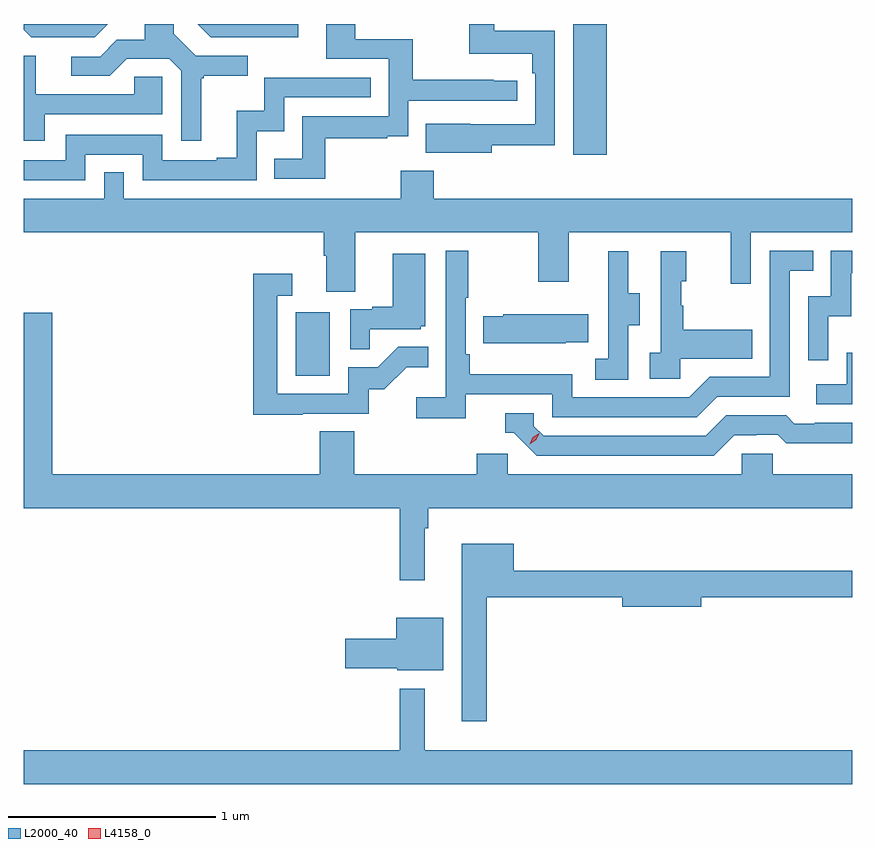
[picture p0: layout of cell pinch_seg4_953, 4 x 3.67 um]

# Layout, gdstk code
import gdstk
lib = gdstk.Library(unit=1e-6, precision=1e-09)
def R(c, l, rs):  # rectangles x0, y0, x1, y1
    for r in rs: c.add(gdstk.rectangle(r[:2], r[2:], *l))
def P(c, l, *ps):  # polygons
    for p in ps: c.add(gdstk.Polygon(p, *l))
L2000_40 = (2000, 40)
L4158_0 = (4158, 0)

pinch_seg4_953 = lib.new_cell('pinch_seg4_953')
R(pinch_seg4_953, L2000_40, [(863.066,773.484,863.23,773.791), (864.407,774.552,864.568,775.183)])
P(pinch_seg4_953, L2000_40, [(863.209,774.63),(863.507,774.63),(863.507,774.641),(863.61,774.641),(863.61,774.813),(864.136,774.813),(864.136,774.909),(864.023,774.909),(864.023,774.914),(863.63,774.914),(863.63,775.11),(863.353,775.11),(863.353,775.183),(863.213,775.183),(863.213,775.014),(863.514,775.014),(863.514,774.738),(863.098,774.738),(863.098,774.532),(862.963,774.532),(862.963,774.435),(863.209,774.435)],
  [(862.609,774.921),(862.621,774.921),(862.621,774.932),(862.834,774.932),(862.834,775.029),(862.584,775.029),(862.477,775.136),(862.477,775.183),(862.337,775.183),(862.337,775.106),(862.202,775.106),(862.122,775.026),(861.981,775.026),(861.981,774.933),(862.168,774.933),(862.249,775.014),(862.455,775.014),(862.512,774.957),(862.512,774.618),(862.609,774.618)],
  [(862.159,775.183),(861.753,775.183),(861.753,775.155),(861.789,775.119),(862.095,775.119)],
  [(863.077,775.183),(862.592,775.183),(862.656,775.119),(862.872,775.119),(862.872,775.118),(863.077,775.118)],
  [(864.013,774.598),(864.318,774.598),(864.318,775.15),(864.025,775.15),(864.025,775.183),(863.904,775.183),(863.904,775.04),(864.209,775.04),(864.209,774.944),(864.222,774.944),(864.222,774.699),(863.909,774.699),(863.909,774.7),(863.695,774.7),(863.695,774.56),(864.013,774.56)],
  [(861.853,774.747),(862.422,774.747),(862.422,774.927),(862.285,774.927),(862.285,774.843),(861.811,774.843),(861.811,775.029),(861.753,775.029),(861.753,774.618),(861.853,774.618)],
  [(862.05,774.552),(862.326,774.552),(862.326,774.429),(862.878,774.429),(862.878,774.665),(863.01,774.665),(863.01,774.828),(863.429,774.828),(863.429,774.924),(862.914,774.924),(862.914,774.763),(862.781,774.763),(862.781,774.538),(862.685,774.538),(862.685,774.525),(862.422,774.525),(862.422,774.648),(861.954,774.648),(861.954,774.525),(861.753,774.525),(861.753,774.429),(862.05,774.429)],
  [(863.353,774.176),(864.238,774.176),(864.238,773.937),(864.385,773.937),(864.385,774.176),(865.166,774.176),(865.166,773.928),(865.263,773.928),(865.263,774.176),(865.753,774.176),(865.753,774.34),(863.732,774.34),(863.732,774.475),(863.572,774.475),(863.572,774.34),(862.236,774.34),(862.236,774.467),(862.14,774.467),(862.14,774.34),(861.753,774.34),(861.753,774.176),(863.201,774.176),(863.201,774.064),(863.213,774.064),(863.213,773.89),(863.353,773.89)],
  [(863.888,773.394),(864.306,773.394),(864.306,773.283),(865.003,773.283),(865.102,773.382),(865.452,773.382),(865.452,773.991),(865.565,773.991),(865.565,774.087),(865.356,774.087),(865.356,773.478),(865.065,773.478),(864.966,773.379),(864.402,773.379),(864.402,773.491),(863.906,773.491),(863.906,773.587),(863.886,773.587),(863.886,773.86),(863.899,773.86),(863.899,774.088),(863.79,774.088),(863.79,773.38),(863.649,773.38),(863.649,773.278),(863.888,773.278)],
  [(865.638,773.771),(865.748,773.771),(865.748,773.979),(865.753,773.979),(865.753,774.087),(865.65,774.087),(865.65,773.868),(865.542,773.868),(865.542,773.559),(865.638,773.559)],
  [(864.924,773.567),(865.271,773.567),(865.271,773.707),(864.937,773.707),(864.937,773.822),(864.927,773.822),(864.927,773.94),(864.952,773.94),(864.952,774.085),(864.828,774.085),(864.828,773.594),(864.777,773.594),(864.777,773.469),(864.924,773.469)],
  [(864.672,773.728),(864.727,773.728),(864.727,773.883),(864.673,773.883),(864.673,774.085),(864.575,774.085),(864.575,773.871),(864.576,773.871),(864.576,773.567),(864.513,773.567),(864.513,773.464),(864.672,773.464)],
  [(863.423,773.709),(863.67,773.709),(863.67,773.724),(863.692,773.724),(863.692,774.073),(863.534,774.073),(863.534,773.818),(863.435,773.818),(863.435,773.805),(863.328,773.805),(863.328,773.611),(863.423,773.611)],
  [(863.099,773.301),(863.418,773.301),(863.418,773.418),(863.494,773.418),(863.601,773.525),(863.705,773.525),(863.705,773.624),(863.561,773.624),(863.463,773.526),(863.319,773.526),(863.319,773.397),(862.977,773.397),(862.977,773.871),(863.05,773.871),(863.05,773.977),(862.861,773.977),(862.861,773.296),(863.099,773.296)],
  [(863.689,772.748),(863.707,772.748),(863.707,772.844),(865.753,772.844),(865.753,773.008),(865.371,773.008),(865.371,773.106),(865.221,773.106),(865.221,773.008),(864.09,773.008),(864.09,773.106),(863.939,773.106),(863.939,773.008),(863.348,773.008),(863.348,773.216),(863.183,773.216),(863.183,773.008),(861.89,773.008),(861.89,773.788),(861.753,773.788),(861.753,772.844),(863.568,772.844),(863.568,772.497),(863.689,772.497)],
  [(864.371,773.645),(864.479,773.645),(864.479,773.782),(864.069,773.782),(864.069,773.772),(863.971,773.772),(863.971,773.642),(864.371,773.642)],
  [(865.753,773.596),(865.728,773.596),(865.728,773.442),(865.581,773.442),(865.581,773.346),(865.753,773.346)],
  [(865.183,773.196),(865.29,773.196),(865.29,773.199),(865.393,773.199),(865.435,773.157),(865.668,773.157),(865.668,773.159),(865.753,773.159),(865.753,773.256),(865.573,773.256),(865.573,773.253),(865.474,773.253),(865.435,773.292),(865.146,773.292),(865.047,773.193),(864.264,773.193),(864.216,773.241),(864.216,773.304),(864.077,773.304),(864.077,773.208),(864.12,773.208),(864.231,773.097),(865.084,773.097)],
  [(863.989,772.414),(864.644,772.414),(864.644,772.367),(865.024,772.367),(865.024,772.414),(865.753,772.414),(865.753,772.543),(864.118,772.543),(864.118,772.672),(863.867,772.672),(863.867,771.816),(863.989,771.816)],
  [(863.779,772.315),(863.552,772.315),(863.552,772.214),(863.304,772.214),(863.304,772.072),(863.556,772.072),(863.556,772.061),(863.779,772.061)],
  [(865.753,771.676),(863.689,771.676),(863.689,771.973),(863.568,771.973),(863.568,771.676),(861.753,771.676),(861.753,771.512),(865.753,771.512)])
P(pinch_seg4_953, L4158_0, [(864.195,773.153),(864.195,773.153),(864.211,773.186),(864.242,773.206),(864.242,773.206),(864.242,773.205),(864.226,773.173),(864.195,773.153)])

lib.write_gds('pinch_seg4_953.gds')
